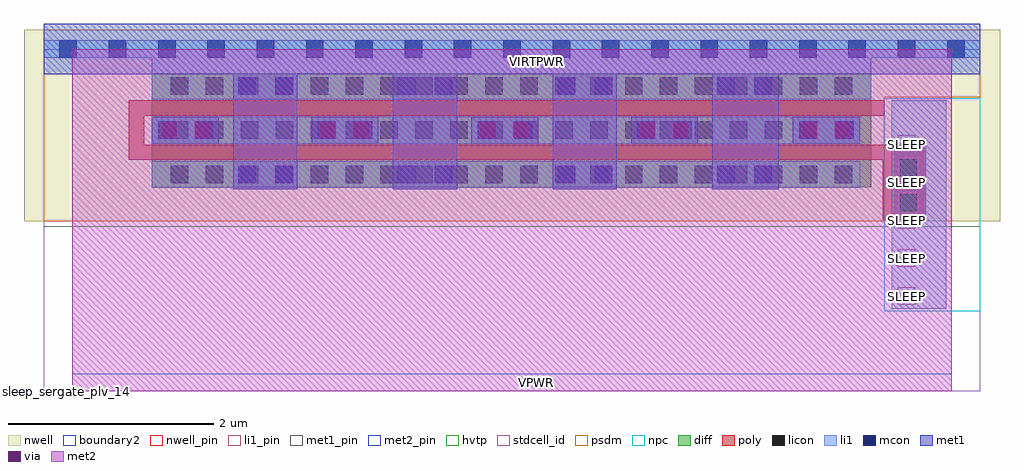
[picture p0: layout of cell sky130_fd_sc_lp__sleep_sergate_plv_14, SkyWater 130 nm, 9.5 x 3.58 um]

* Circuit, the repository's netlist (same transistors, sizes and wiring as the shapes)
* Copyright 2020 The SkyWater PDK Authors
*
* Licensed under the Apache License, Version 2.0 (the "License");
* you may not use this file except in compliance with the License.
* You may obtain a copy of the License at
*
*     https://www.apache.org/licenses/LICENSE-2.0
*
* Unless required by applicable law or agreed to in writing, software
* distributed under the License is distributed on an "AS IS" BASIS,
* WITHOUT WARRANTIES OR CONDITIONS OF ANY KIND, either express or implied.
* See the License for the specific language governing permissions and
* limitations under the License.
*
* SPDX-License-Identifier: Apache-2.0

.SUBCKT sky130_fd_sc_lp__sleep_sergate_plv_14 VIRTPWR VPWR SLEEP VPB
*.PININFO VIRTPWR:? VPWR:? SLEEP:? VPB:?
M1000 VIRTPWR SLEEP VPWR VPB sky130_fd_pr__pfet_01v8_hvt w=7e+06u l=150000u
+ ad=3.71e+12p pd=2.906e+07u as=1.96e+12p ps=1.456e+07u
M1001 VPWR SLEEP VIRTPWR VPB sky130_fd_pr__pfet_01v8_hvt w=7e+06u l=150000u ad=0p
+ pd=0u as=0p ps=0u
.ENDS sky130_fd_sc_lp__sleep_sergate_plv_14

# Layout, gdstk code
import gdstk
lib = gdstk.Library(unit=1e-6, precision=1e-09)
def R(c, l, rs):  # rectangles x0, y0, x1, y1
    for r in rs: c.add(gdstk.rectangle(r[:2], r[2:], *l))
def A(c, l, x, y, w, h, nx, ny, dx, dy):  # array of equal rectangles
    R(c, l, [(x+i*dx, y+j*dy, x+i*dx+w, y+j*dy+h) for i in range(nx) for j in range(ny)])
def P(c, l, *ps):  # polygons
    for p in ps: c.add(gdstk.Polygon(p, *l))
nwell_pin = (64, 16)
nwell = (64, 20)
diff = (65, 20)
poly = (66, 20)
licon = (66, 44)
li1_pin = (67, 16)
li1 = (67, 20)
mcon = (67, 44)
met1_pin = (68, 16)
met1 = (68, 20)
via = (68, 44)
met2_pin = (69, 16)
met2 = (69, 20)
hvtp = (78, 44)
stdcell_id = (81, 4)
psdm = (94, 20)
npc = (95, 20)
boundary2 = (236, 0)

sky130_fd_sc_lp__sleep_s = lib.new_cell('sky130_fd_sc_lp__sleep_sergate_plv_14')
R(sky130_fd_sc_lp__sleep_s, nwell_pin, [(0,3.085,9.12,3.33)])
R(sky130_fd_sc_lp__sleep_s, nwell, [(-0.19,1.655,9.31,3.52)])
R(sky130_fd_sc_lp__sleep_s, diff, [(1.055,1.985,8.055,3.095)])
P(sky130_fd_sc_lp__sleep_s, poly, [(8.585,2.4),(0.98,2.4),(0.98,2.68),(8.185,2.68),(8.185,2.83),(0.83,2.83),(0.83,2.25),(8.17,2.25),(8.17,1.67),(8.585,1.67)])
A(sky130_fd_sc_lp__sleep_s, licon, 1.24, 2.025, 0.17, 0.17, 20, 3, 0.34, 0.43)
R(sky130_fd_sc_lp__sleep_s, licon, [(8.335,1.75,8.505,1.92), (8.335,2.09,8.505,2.26)])
A(sky130_fd_sc_lp__sleep_s, li1_pin, 8.315, 0.84, 0.17, 0.17, 1, 5, 0, 0.37)
R(sky130_fd_sc_lp__sleep_s, li1, [(8.255,0.8,8.785,2.83), (1.055,1.98,7.95,2.24), (1.055,2.41,7.95,2.67)])
P(sky130_fd_sc_lp__sleep_s, li1, [(9.12,3.415),(0,3.415),(0,3.245),(1.055,3.245),(1.055,2.84),(8.055,2.84),(8.055,3.245),(9.12,3.245)])
A(sky130_fd_sc_lp__sleep_s, mcon, 0.155, 3.245, 0.17, 0.17, 19, 1, 0.48, 0)
R(sky130_fd_sc_lp__sleep_s, mcon, [(1.895,2.025,2.065,2.195), (2.255,2.025,2.425,2.195), (3.45,2.025,3.62,2.195), (3.81,2.025,3.98,2.195), (5.005,2.025,5.175,2.195), (5.365,2.025,5.535,2.195), (6.56,2.025,6.73,2.195), (6.92,2.025,7.09,2.195), (1.115,2.455,1.285,2.625), (1.475,2.455,1.645,2.625), (2.67,2.455,2.84,2.625), (3.03,2.455,3.2,2.625), (4.225,2.455,4.395,2.625), (4.585,2.455,4.755,2.625), (5.78,2.455,5.95,2.625), (6.14,2.455,6.31,2.625), (7.355,2.455,7.525,2.625), (7.715,2.455,7.885,2.625), (1.895,2.885,2.065,3.055), (2.255,2.885,2.425,3.055), (3.45,2.885,3.62,3.055), (3.81,2.885,3.98,3.055), (5.005,2.885,5.175,3.055), (5.365,2.885,5.535,3.055), (6.56,2.885,6.73,3.055), (6.92,2.885,7.09,3.055)])
R(sky130_fd_sc_lp__sleep_s, met1_pin, [(0,3.085,9.12,3.33)])
A(sky130_fd_sc_lp__sleep_s, met1, 1.055, 2.41, 0.65, 0.26, 4, 1, 1.555, 0)
R(sky130_fd_sc_lp__sleep_s, met1, [(1.065,2.41,1.385,2.67), (1.385,2.41,1.705,2.67), (2.61,2.41,2.93,2.67), (2.93,2.41,3.25,2.67), (4.165,2.41,4.485,2.67), (4.485,2.41,4.805,2.67), (5.72,2.41,6.04,2.67), (6.04,2.41,6.36,2.67), (7.295,2.41,7.945,2.67), (7.295,2.41,7.615,2.67), (7.615,2.41,7.935,2.67)])
P(sky130_fd_sc_lp__sleep_s, met1, [(9.12,3.575),(0,3.575),(0,3.085),(1.845,3.085),(1.845,1.965),(2.47,1.965),(2.47,3.085),(3.4,3.085),(3.4,1.965),(4.025,1.965),(4.025,3.085),(4.955,3.085),(4.955,1.965),(5.58,1.965),(5.58,3.085),(6.51,3.085),(6.51,1.965),(7.155,1.965),(7.155,3.085),(9.12,3.085)])
R(sky130_fd_sc_lp__sleep_s, via, [(1.15,2.465,1.3,2.615), (1.47,2.465,1.62,2.615), (2.695,2.465,2.845,2.615), (3.015,2.465,3.165,2.615), (4.25,2.465,4.4,2.615), (4.57,2.465,4.72,2.615), (5.805,2.465,5.955,2.615), (6.125,2.465,6.275,2.615), (7.38,2.465,7.53,2.615), (7.7,2.465,7.85,2.615)])
R(sky130_fd_sc_lp__sleep_s, met2_pin, [(0.28,0,8.84,0.17)])
R(sky130_fd_sc_lp__sleep_s, met2, [(0.28,0,8.84,3.33), (1.065,2.41,1.385,2.67), (1.385,2.41,1.705,2.67), (2.61,2.41,2.93,2.67), (2.93,2.41,3.25,2.67), (4.165,2.41,4.485,2.67), (4.485,2.41,4.805,2.67), (5.72,2.41,6.04,2.67), (6.04,2.41,6.36,2.67), (7.295,2.41,7.615,2.67), (7.615,2.41,7.935,2.67)])
R(sky130_fd_sc_lp__sleep_s, hvtp, [(0,1.6,9.12,3.33)])
R(sky130_fd_sc_lp__sleep_s, stdcell_id, [(0,0,9.12,3.33)])
P(sky130_fd_sc_lp__sleep_s, psdm, [(9.12,3.52),(0,3.52),(0,1.655),(8.185,1.655),(8.185,2.86),(9.12,2.86)])
R(sky130_fd_sc_lp__sleep_s, npc, [(8.185,0.78,9.12,2.85)])
R(sky130_fd_sc_lp__sleep_s, boundary2, [(0,0,9.12,3.33)])
sky130_fd_sc_lp__sleep_s.add(gdstk.Label('VIRTPWR', (4.8,3.21), layer=68, texttype=5))
sky130_fd_sc_lp__sleep_s.add(gdstk.Label('VPWR', (4.8,0.085), layer=69, texttype=5))
sky130_fd_sc_lp__sleep_s.add(gdstk.Label('SLEEP', (8.4,0.925), layer=67, texttype=5))
sky130_fd_sc_lp__sleep_s.add(gdstk.Label('SLEEP', (8.4,1.295), layer=67, texttype=5))
sky130_fd_sc_lp__sleep_s.add(gdstk.Label('SLEEP', (8.4,1.665), layer=67, texttype=5))
sky130_fd_sc_lp__sleep_s.add(gdstk.Label('SLEEP', (8.4,2.035), layer=67, texttype=5))
sky130_fd_sc_lp__sleep_s.add(gdstk.Label('SLEEP', (8.4,2.405), layer=67, texttype=5))
sky130_fd_sc_lp__sleep_s.add(gdstk.Label('VPB', (4.8,3.208), layer=64, texttype=5))
sky130_fd_sc_lp__sleep_s.add(gdstk.Label('sleep_sergate_plv_14', (0,-0.005), layer=83, texttype=44))

lib.write_gds('sky130_fd_sc_lp__sleep_sergate_plv_14.gds')
